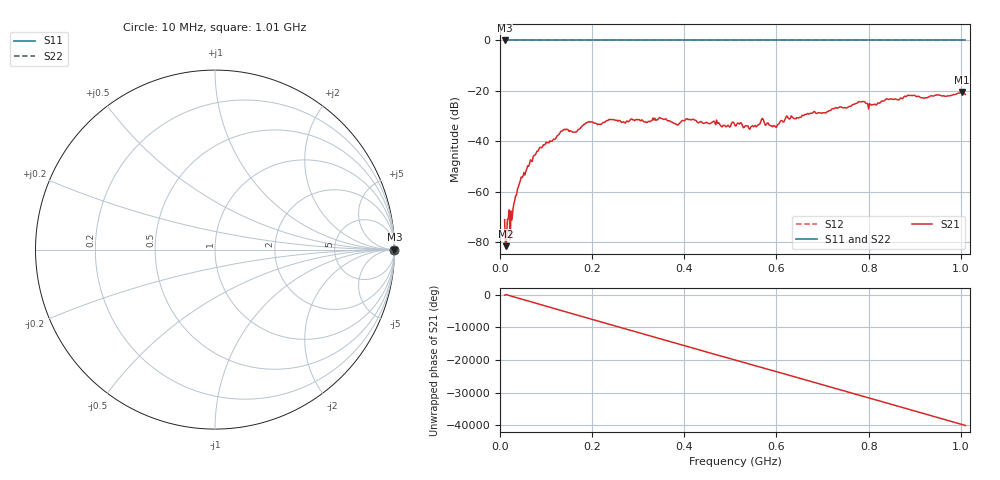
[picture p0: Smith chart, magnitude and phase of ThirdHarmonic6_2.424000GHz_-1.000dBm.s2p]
! 8/17/2025 4:09:21 AM
! C:\ANRITSUVNA\TEMP\TEMP.S2P
! CHANNEL.1
! TR.MEASUREMENT
! RAW.DATA
! RF.CORRECTION.OFF
! AVERAGING.OFF
! IF.BANDWIDTH: 5KHZ
! SWEEPTYPE:  FREQ.SWEEP(Linear)
! Reference Plane Port Info
! PORT:  PORT1  PORT2
! DISTANCE:  0  m  0  m
! TIME:  0  s  0  s
! PHASE.OFFSET:  0  deg.  0  deg.
! LOSS:  0  dB  0  dB
! REF.LOSS:  0  dB  0  dB
! REF.FREQ:  0  Hz  0  Hz
! Power Info
! POWER:  -20  dBm  -20  dBm
! EFF.POWER:  -20  dBm  -20  dBm
! SOURCE.ATTEN:  0  dB  0  dB
! TEST.ATTEN:  0  dB  0  dB
# GHZ S RI R 50.0
! FREQ.GHZ  S11RE  S11IM  S21RE  S21IM  S12RE  S12IM  S22RE  S22IM
!; PortSelection: Port_12
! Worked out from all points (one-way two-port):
!   501 points, 10 MHz to 1.01 GHz, reference 50 ohm
!   highest |S21| = -20.36 dB at 1.002 GHz (marker M1); lowest = -81.5 dB at 12 MHz (marker M2)
!   lowest |S11| = 0.0 dB at 10 MHz (marker M3)
!   |S11| at or under -10 dB: nowhere
!   |S22| runs from 0.0 to 0.0 dB; largest |S21 - S12| = 1.1
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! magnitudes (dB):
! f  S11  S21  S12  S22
! 10 MHz  0.0  -71.0  0.0  0.0
! 12 MHz  0.0  -81.5  0.0  0.0
! 26 MHz  0.0  -71.1  0.0  0.0
! 34 MHz  0.0  -61.5  0.0  0.0
! 44 MHz  0.0  -55.6  0.0  0.0
! 84 MHz  0.0  -43.2  0.0  0.0
! 136 MHz  0.0  -35.8  0.0  0.0
! 162 MHz  0.0  -36.3  0.0  0.0
! 178 MHz  0.0  -33.9  0.0  0.0
! 240 MHz  0.0  -31.4  0.0  0.0
! 344 MHz  0.0  -31.0  0.0  0.0
! 384 MHz  0.0  -33.4  0.0  0.0
! 408 MHz  0.0  -31.3  0.0  0.0
! 510 MHz  0.0  -33.7  0.0  0.0
! 544 MHz  0.0  -34.4  0.0  0.0
! 570 MHz  0.0  -30.9  0.0  0.0
! 596 MHz  0.0  -33.8  0.0  0.0
! 622 MHz  0.0  -29.9  0.0  0.0
! 678 MHz  0.0  -28.7  0.0  0.0
! 844 MHz  0.0  -23.4  0.0  0.0
! 1.002 GHz  0.0  -20.4  0.0  0.0
! 1.01 GHz  0.0  -21.4  0.0  0.0
